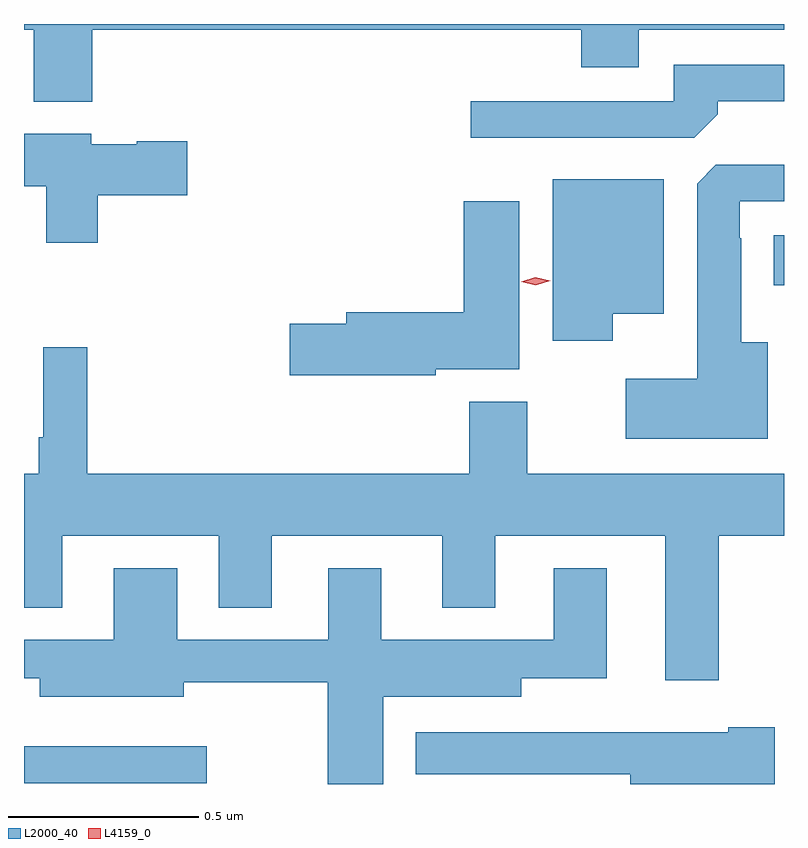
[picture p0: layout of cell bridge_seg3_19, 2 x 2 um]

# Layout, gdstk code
import gdstk
lib = gdstk.Library(unit=1e-6, precision=1e-09)
def R(c, l, rs):  # rectangles x0, y0, x1, y1
    for r in rs: c.add(gdstk.rectangle(r[:2], r[2:], *l))
def P(c, l, *ps):  # polygons
    for p in ps: c.add(gdstk.Polygon(p, *l))
L2000_40 = (2000, 40)
L4159_0 = (4159, 0)

bridge_seg3_19 = lib.new_cell('bridge_seg3_19')
R(bridge_seg3_19, L2000_40, [(781.131,726.905,781.612,727.003), (783.104,728.216,783.131,728.347)])
P(bridge_seg3_19, L2000_40, [(781.31,728.888),(782.597,728.888),(782.597,728.789),(782.749,728.789),(782.749,728.888),(783.131,728.888),(783.131,728.903),(781.131,728.903),(781.131,728.888),(781.157,728.888),(781.157,728.699),(781.31,728.699)],
  [(782.957,728.666),(782.957,728.7),(783.131,728.7),(783.131,728.796),(782.841,728.796),(782.841,728.7),(782.307,728.7),(782.307,728.604),(782.895,728.604)],
  [(781.325,728.453),(781.561,728.453),(781.561,728.595),(781.428,728.595),(781.428,728.587),(781.308,728.587),(781.308,728.614),(781.131,728.614),(781.131,728.476),(781.19,728.476),(781.19,728.328),(781.325,728.328)],
  [(783.088,728.065),(783.019,728.065),(783.019,728.339),(783.015,728.339),(783.015,728.436),(783.131,728.436),(783.131,728.532),(782.952,728.532),(782.903,728.483),(782.903,727.969),(782.715,727.969),(782.715,727.811),(783.088,727.811)],
  [(782.68,728.141),(782.815,728.141),(782.815,728.494),(782.522,728.494),(782.522,728.07),(782.68,728.07)],
  [(782.214,727.994),(782.434,727.994),(782.434,728.437),(782.288,728.437),(782.288,728.144),(781.979,728.144),(781.979,728.114),(781.83,728.114),(781.83,727.979),(782.214,727.979)],
  [(782.959,727.556),(783.131,727.556),(783.131,727.72),(782.455,727.72),(782.455,727.909),(782.303,727.909),(782.303,727.72),(781.298,727.72),(781.298,728.053),(781.182,728.053),(781.182,727.816),(781.17,727.816),(781.17,727.72),(781.131,727.72),(781.131,727.367),(781.231,727.367),(781.231,727.556),(781.643,727.556),(781.643,727.367),(781.783,727.367),(781.783,727.556),(782.231,727.556),(782.231,727.367),(782.371,727.367),(782.371,727.556),(782.819,727.556),(782.819,727.176),(782.959,727.176)],
  [(782.077,727.133),(782.44,727.133),(782.44,727.181),(782.665,727.181),(782.665,727.471),(782.525,727.471),(782.525,727.282),(782.071,727.282),(782.071,727.471),(781.931,727.471),(781.931,727.282),(781.534,727.282),(781.534,727.471),(781.367,727.471),(781.367,727.282),(781.131,727.282),(781.131,727.181),(781.172,727.181),(781.172,727.133),(781.552,727.133),(781.552,727.171),(781.93,727.171),(781.93,726.903),(782.077,726.903)],
  [(783.106,727.052),(782.984,727.052),(782.984,727.039),(782.162,727.039),(782.162,726.929),(782.726,726.929),(782.726,726.903),(783.106,726.903)])
P(bridge_seg3_19, L4159_0, [(782.478,728.216),(782.439,728.225),(782.439,728.225),(782.439,728.225),(782.477,728.236),(782.516,728.227),(782.516,728.227),(782.516,728.227)])

lib.write_gds('bridge_seg3_19.gds')
